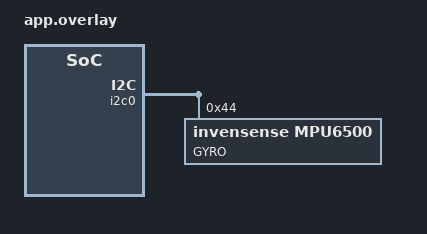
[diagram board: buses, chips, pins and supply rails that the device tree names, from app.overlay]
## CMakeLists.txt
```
cmake_minimum_required(VERSION 3.20.0)
find_package(Zephyr REQUIRED HINTS $ENV{ZEPHYR_BASE})
project(sport)

target_sources(app PRIVATE src/main.c src/ble.c)

target_include_directories(app PRIVATE include)
```

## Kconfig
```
menu "Sport Application"

endmenu

menu "Zephyr Kernel"
source "Kconfig.zephyr"
endmenu

module = SPORT
module-str = Sport
source "${ZEPHYR_BASE}/subsys/logging/Kconfig.template.log_config"
```

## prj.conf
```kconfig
# Enable printing to the console
CONFIG_PRINTK=y

# Enable I2C and Sensor Drivers
CONFIG_I2C=y
CONFIG_SENSOR=y
CONFIG_MPU6050_TRIGGER_NONE=y
CONFIG_CBPRINTF_FP_SUPPORT=y

# Kernel configuration
CONFIG_MAIN_STACK_SIZE=2048
CONFIG_SYSTEM_WORKQUEUE_STACK_SIZE=2048

# Networking and Logging
CONFIG_CONSOLE=y
CONFIG_UART_CONSOLE=y

# Logging
CONFIG_LOG=y
CONFIG_SENSOR_LOG_LEVEL_WRN=y
CONFIG_SPORT_LOG_LEVEL_INF=y

# Shell
CONFIG_SHELL=y
CONFIG_SHELL_PROMPT_UART="sport:~$ "
CONFIG_SHELL_BACKENDS=y
CONFIG_SHELL_BACKEND_SERIAL=y
CONFIG_SENSOR_SHELL=y
CONFIG_I2C_SHELL=y

# BLE
CONFIG_BT=y
CONFIG_BT_PERIPHERAL=y
CONFIG_BT_SMP=y
CONFIG_BT_DEVICE_NAME="My Sport device"
CONFIG_BT_DIS=y
CONFIG_BT_DIS_PNP=n
CONFIG_BT_BAS=y
CONFIG_BT_DEVICE_APPEARANCE=1216
CONFIG_BT_CTS=y
CONFIG_BT_CTS_HELPER_API=y
```

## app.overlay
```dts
&i2c0 {
    status = "okay";

    gyro: mpu6500@68 {
            compatible = "invensense,mpu6500";
            label = "GYRO";
            reg = <68>;
    };
};
```

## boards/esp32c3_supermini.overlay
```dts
/ {
	aliases {
		gyro-sensor = &mpu6050;
	};
};

&pinctrl {
	i2c0_default: i2c0_default {
		group1 {
			pinmux = <I2C0_SDA_GPIO5>,
					 <I2C0_SCL_GPIO6>;
			bias-pull-up;
			drive-open-drain;
			output-high;
		};
	};
};

&i2c0 {
	mpu6050: mpu6050@68 {
		compatible = "invensense,mpu6050";
		reg = <0x68>;
		status = "okay";
		int-gpios = <&gpio0 11 GPIO_ACTIVE_HIGH>;
		smplrt-div = <249>;
	};
};
```

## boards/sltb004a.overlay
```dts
/ {
	aliases {
		gyro-sensor = &mpu6050;
	};
};

&i2c0 {
	mpu6050: mpu6050@68 {
		compatible = "invensense,mpu6050";
		reg = <0x68>;
		status = "okay";
		smplrt-div = <249>;
	};
};

&bt_hci0 {
	status = "okay";
};
```

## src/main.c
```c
#include <zephyr/kernel.h>
#include <zephyr/device.h>
#include <zephyr/drivers/sensor.h>
#include "ble.h"

#include <stdio.h>

#include <zephyr/logging/log.h>
LOG_MODULE_REGISTER(sport_app, CONFIG_SPORT_LOG_LEVEL);

static const struct device* gyro_sensor = DEVICE_DT_GET(DT_ALIAS(gyro_sensor));

struct k_work_delayable measurement_work;

/* ===== Helpers ===== */
static inline int16_t sensor_to_int16(const struct sensor_value* val, double scale)
{
  double d = sensor_value_to_double(val);
  return (int16_t)(d * scale);
}

static struct gpio_dt_spec led = GPIO_DT_SPEC_GET_OR(DT_ALIAS(led0), gpios, {0});
static bool led_is_on = false;

/* ===== Measurement Task ===== */
static void measurement_work_fn(struct k_work* work)
{
  k_work_reschedule(&measurement_work, K_SECONDS(3));
  LOG_INF("Measurement work function called.");

  if (sensor_sample_fetch(gyro_sensor) < 0) {
    LOG_ERR("Sensor sample fetch failed");
    return;
  }

  struct sensor_value accel_x, accel_y, accel_z;
  struct sensor_value gyro_x, gyro_y, gyro_z;

  sensor_channel_get(gyro_sensor, SENSOR_CHAN_ACCEL_X, &accel_x);
  sensor_channel_get(gyro_sensor, SENSOR_CHAN_ACCEL_Y, &accel_y);
  sensor_channel_get(gyro_sensor, SENSOR_CHAN_ACCEL_Z, &accel_z);

  // Get gyroscope data
  sensor_channel_get(gyro_sensor, SENSOR_CHAN_GYRO_X, &gyro_x);
  sensor_channel_get(gyro_sensor, SENSOR_CHAN_GYRO_Y, &gyro_y);
  sensor_channel_get(gyro_sensor, SENSOR_CHAN_GYRO_Z, &gyro_z);

  LOG_INF("Accel: X=%.2f Y=%.2f Z=%.2f m/s^2", sensor_value_to_double(&accel_x), sensor_value_to_double(&accel_y),
          sensor_value_to_double(&accel_z));

  LOG_INF("Gyro: X=%.2f Y=%.2f Z=%.2f rad/s", sensor_value_to_double(&gyro_x), sensor_value_to_double(&gyro_y),
          sensor_value_to_double(&gyro_z));

  gyro_x_val = sensor_to_int16(&gyro_x, 100);
  gyro_y_val = sensor_to_int16(&gyro_y, 100);
  gyro_z_val = sensor_to_int16(&gyro_z, 100);

  accel_x_val = sensor_to_int16(&accel_x, 100);
  accel_y_val = sensor_to_int16(&accel_y, 100);
  accel_z_val = sensor_to_int16(&accel_z, 100);
}

int main(void)
{
  bool err = bt_init();
  if (!err) {
    LOG_ERR("Bluetooth initialization failed");
    return -1;
  }

  k_work_init_delayable(&measurement_work, measurement_work_fn);

  if (!device_is_ready(gyro_sensor)) {
    LOG_ERR("Gyro device not ready yet.");
  }
  else {
    k_work_reschedule(&measurement_work, K_SECONDS(3));
  }

  return 0;
}
```

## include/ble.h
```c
#ifndef BT_H
#define BT_H

#include <zephyr/bluetooth/bluetooth.h>
#include <zephyr/bluetooth/services/bas.h>
#include <zephyr/bluetooth/services/cts.h>
#include <zephyr/bluetooth/gatt.h>

// extern State currentState;

// extern struct ring_buf process_ringbuf;
// extern uint8_t process_buf[2048];

// extern const struct device *gyro_sensor;

// extern struct k_work_delayable measurement_work;

// extern struct bt_uuid_128 custom_service_uuid;
// extern struct bt_uuid_128 gyro_x_uuid;
// extern struct bt_uuid_128 gyro_y_uuid;
// extern struct bt_uuid_128 gyro_z_uuid;

extern int16_t gyro_x_val;
extern int16_t gyro_y_val;
extern int16_t gyro_z_val;

extern int16_t accel_x_val;
extern int16_t accel_y_val;
extern int16_t accel_z_val;

bool bt_init(void);

#endif // BT_H
```

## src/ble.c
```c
#include "ble.h"

#include <zephyr/logging/log.h>
LOG_MODULE_REGISTER(BLE, CONFIG_SPORT_LOG_LEVEL);

int16_t gyro_x_val = 0;
int16_t gyro_y_val = 0;
int16_t gyro_z_val = 0;

int16_t accel_x_val = 0;
int16_t accel_y_val = 0;
int16_t accel_z_val = 0;

/* Gyroscope Service UUID */
#define BT_UUID_GYRO_SER_VAL BT_UUID_128_ENCODE(0x12345678, 0x1234, 0x5678, 0x1234, 0x56789abc0000)
#define BT_UUID_GYRO_SERVICE BT_UUID_DECLARE_128(BT_UUID_GYRO_SER_VAL)

/* Gyroscope Characteristic UUIDs */
#define BT_UUID_GYRO_X_VAL BT_UUID_128_ENCODE(0x12345678, 0x1234, 0x5678, 0x1234, 0x56789abc0001)
#define BT_UUID_GYRO_X BT_UUID_DECLARE_128(BT_UUID_GYRO_X_VAL)
#define BT_UUID_GYRO_Y_VAL BT_UUID_128_ENCODE(0x12345678, 0x1234, 0x5678, 0x1234, 0x56789abc0002)
#define BT_UUID_GYRO_Y BT_UUID_DECLARE_128(BT_UUID_GYRO_Y_VAL)
#define BT_UUID_GYRO_Z_VAL BT_UUID_128_ENCODE(0x12345678, 0x1234, 0x5678, 0x1234, 0x56789abc0003)
#define BT_UUID_GYRO_Z BT_UUID_DECLARE_128(BT_UUID_GYRO_Z_VAL)

#define BT_UUID_ACCEL_X_VAL BT_UUID_128_ENCODE(0x12345678, 0x1234, 0x5678, 0x1234, 0x56789abc0011)
#define BT_UUID_ACCEL_X BT_UUID_DECLARE_128(BT_UUID_ACCEL_X_VAL)
#define BT_UUID_ACCEL_Y_VAL BT_UUID_128_ENCODE(0x12345678, 0x1234, 0x5678, 0x1234, 0x56789abc0012)
#define BT_UUID_ACCEL_Y BT_UUID_DECLARE_128(BT_UUID_ACCEL_Y_VAL)
#define BT_UUID_ACCEL_Z_VAL BT_UUID_128_ENCODE(0x12345678, 0x1234, 0x5678, 0x1234, 0x56789abc0013)
#define BT_UUID_ACCEL_Z BT_UUID_DECLARE_128(BT_UUID_ACCEL_Z_VAL)


/* ===== Advertising Data ===== */
static const struct bt_data ad[] = {
    BT_DATA_BYTES(BT_DATA_FLAGS, (BT_LE_AD_GENERAL | BT_LE_AD_NO_BREDR)),
    // BT_DATA(BT_DATA_NAME_COMPLETE, CONFIG_BT_DEVICE_NAME, strlen(CONFIG_BT_DEVICE_NAME)),
    BT_DATA_BYTES(BT_DATA_UUID128_ALL, BT_UUID_GYRO_SER_VAL),
    // BT_DATA_BYTES(BT_DATA_UUID16_ALL, BT_UUID_16_ENCODE(BT_UUID_BAS_VAL), BT_UUID_16_ENCODE(BT_UUID_CTS_VAL)),
};

static const struct bt_data sd[] = {
  BT_DATA(BT_DATA_NAME_COMPLETE, CONFIG_BT_DEVICE_NAME, sizeof(CONFIG_BT_DEVICE_NAME) - 1),
};

/* ===== Read Callbacks ===== */
static ssize_t read_gyro_x(struct bt_conn *conn, const struct bt_gatt_attr *attr,
                           void *buf, uint16_t len, uint16_t offset)
{
  return bt_gatt_attr_read(conn, attr, buf, len, offset,
                           &gyro_x_val, sizeof(gyro_x_val));
}

static ssize_t read_gyro_y(struct bt_conn *conn, const struct bt_gatt_attr *attr,
                           void *buf, uint16_t len, uint16_t offset)
{
  return bt_gatt_attr_read(conn, attr, buf, len, offset,
                           &gyro_y_val, sizeof(gyro_y_val));
}

static ssize_t read_gyro_z(struct bt_conn *conn, const struct bt_gatt_attr *attr,
                           void *buf, uint16_t len, uint16_t offset)
{
  return bt_gatt_attr_read(conn, attr, buf, len, offset,
                           &gyro_z_val, sizeof(gyro_z_val));
}

static ssize_t read_accel_x(struct bt_conn *conn, const struct bt_gatt_attr *attr,
                            void *buf, uint16_t len, uint16_t offset)
{
  return bt_gatt_attr_read(conn, attr, buf, len, offset,
                           &accel_x_val, sizeof(accel_x_val));
}

static ssize_t read_accel_y(struct bt_conn *conn, const struct bt_gatt_attr *attr,
                            void *buf, uint16_t len, uint16_t offset)
{
  return bt_gatt_attr_read(conn, attr, buf, len, offset,
                           &accel_y_val, sizeof(accel_y_val));
}

static ssize_t read_accel_z(struct bt_conn *conn, const struct bt_gatt_attr *attr,
                            void *buf, uint16_t len, uint16_t offset)
{
  return bt_gatt_attr_read(conn, attr, buf, len, offset,
                           &accel_z_val, sizeof(accel_z_val));
}

BT_GATT_SERVICE_DEFINE(gyro_svc,
  BT_GATT_PRIMARY_SERVICE(BT_UUID_GYRO_SERVICE),

  BT_GATT_CHARACTERISTIC(BT_UUID_GYRO_X,
                        BT_GATT_CHRC_READ | BT_GATT_CHRC_NOTIFY,
                        BT_GATT_PERM_READ,
                        read_gyro_x, NULL, &gyro_x_val
  ),
  BT_GATT_CHARACTERISTIC(BT_UUID_GYRO_Y,
                        BT_GATT_CHRC_READ | BT_GATT_CHRC_NOTIFY,
                        BT_GATT_PERM_READ,
                        read_gyro_y, NULL, &gyro_y_val
  ),
  BT_GATT_CHARACTERISTIC(BT_UUID_GYRO_Z,
                        BT_GATT_CHRC_READ | BT_GATT_CHRC_NOTIFY,
                        BT_GATT_PERM_READ,
                        read_gyro_z, NULL, &gyro_z_val
  ),

  BT_GATT_CHARACTERISTIC(BT_UUID_ACCEL_X,
                        BT_GATT_CHRC_READ | BT_GATT_CHRC_NOTIFY,
                        BT_GATT_PERM_READ,
                        read_accel_x, NULL, &accel_x_val
  ),
  BT_GATT_CHARACTERISTIC(BT_UUID_ACCEL_Y,
                        BT_GATT_CHRC_READ | BT_GATT_CHRC_NOTIFY,
                        BT_GATT_PERM_READ,
                        read_accel_y, NULL, &accel_y_val
  ),
  BT_GATT_CHARACTERISTIC(BT_UUID_ACCEL_Z,
                        BT_GATT_CHRC_READ | BT_GATT_CHRC_NOTIFY,
                        BT_GATT_PERM_READ,
                        read_accel_z, NULL, &accel_z_val
  )
);

void bt_ready(void)
{
  int err;

  LOG_INF("Bluetooth initialized\n");

  // if (IS_ENABLED(CONFIG_SETTINGS)) {
  //   settings_load();
  // }

  err = bt_le_adv_start(BT_LE_ADV_CONN_FAST_2, ad, ARRAY_SIZE(ad), sd, ARRAY_SIZE(sd));
  if (err) {
    LOG_INF("Advertising failed to start (err %d)\n", err);
    return;
  }

  LOG_INF("Advertising successfully started\n");
}

bool bt_init(void)
{
  bool err = bt_enable(NULL);
  if (err) {
    LOG_INF("Bluetooth init failed (err %d)\n", err);
    return false;
  }

  bt_ready();
  return true;
}
```
